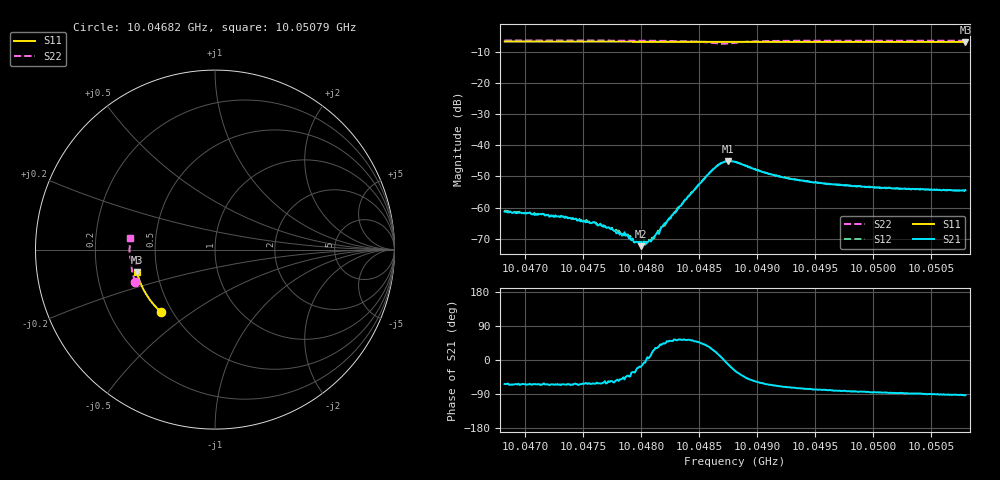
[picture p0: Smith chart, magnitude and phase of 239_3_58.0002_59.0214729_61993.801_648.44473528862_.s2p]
#  HZ  S  RI  R  50.00
! Rohde & Schwarz Vector Network Analyzer
! Rohde-Schwarz,ZNB20-2Port,1311601062101988,3.16
! Created: UTC 3/21/2024, 1:01:00 AM
! freq[Hz]  re:S11  im:S11  re:S21  im:S21  re:S12  im:S12  re:S22  im:S22
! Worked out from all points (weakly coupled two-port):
!   401 points, 10.04682 GHz to 10.05079 GHz, reference 50 ohm
!   highest |S21| = -45.08 dB at 10.04875 GHz (marker M1); lowest = -72.3 dB at 10.04799 GHz (marker M2)
!   lowest |S11| = -6.9 dB at 10.05079 GHz (marker M3), VSWR 2.66, Z = 19.1 - j6.04 ohm
!   |S11| at or under -10 dB: nowhere
!   |S22| runs from -7.4 to -6.4 dB; largest |S21 - S12| = 0.00039
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1.0046821e10  -0.3031 -0.347  0.000387 -0.000774  0.00045 -0.000795  -0.4436 -0.1822
1.0047138e10  -0.3181 -0.3323  0.000338 -0.000715  0.000361 -0.000684  -0.4507 -0.1616
1.0047486e10  -0.3339 -0.3154  0.000275 -0.00055  0.000313 -0.000555  -0.4576 -0.1383
1.0047595e10  -0.3387 -0.31  0.000268 -0.000519  0.000302 -0.000496  -0.4593 -0.1308
1.0047734e10  -0.3446 -0.303  0.000259 -0.00038  0.000263 -0.000365  -0.4617 -0.121
1.0047804e10  -0.3474 -0.2994  0.000225 -0.000323  0.000281 -0.000326  -0.4624 -0.1158
1.0047863e10  -0.3499 -0.2962  0.000252 -0.000249  0.00026 -0.000266  -0.4633 -0.1113
1.0047903e10  -0.3515 -0.2942  0.000238 -0.000225  0.000277 -0.000216  -0.4635 -0.1084
1.0047933e10  -0.3529 -0.2926  0.000252 -0.000157  0.000247 -0.000132  -0.4638 -0.106
1.0047992e10  -0.3553 -0.2896  0.00023 -7.49e-05  0.00028 -5.38e-05  -0.4646 -0.1012
1.0048022e10  -0.3563 -0.2879  0.000304 -3.61e-05  0.000262 -4.03e-05  -0.4647 -0.099
1.0048072e10  -0.3583 -0.2854  0.000298 4.4e-05  0.000292 9.31e-05  -0.465 -0.095
1.0048111e10  -0.3598 -0.2832  0.000307 0.00016  0.000277 0.00017  -0.4651 -0.0916
1.0048151e10  -0.3615 -0.2814  0.000308 0.000221  0.000337 0.000251  -0.4654 -0.0881
1.0048588e10  -0.3776 -0.2573  0.00302 0.002  0.00293 0.00218  -0.4406 -0.047
1.0048677e10  -0.3805 -0.2524  0.00494 0.000926  0.00494 0.0012  -0.4241 -0.0544
1.0048747e10  -0.3828 -0.2487  0.00547 -0.00108  0.00554 -0.000794  -0.4226 -0.0703
1.0048806e10  -0.385 -0.2454  0.00477 -0.00257  0.00495 -0.00228  -0.4318 -0.0795
1.0049114e10  -0.3952 -0.228  0.00143 -0.00311  0.00159 -0.00306  -0.4668 -0.0601
1.0049472e10  -0.4061 -0.207  0.000544 -0.0025  0.000719 -0.00248  -0.4745 -0.0293
1.0050137e10  -0.4231 -0.1666  0.000114 -0.00208  0.000249 -0.00207  -0.4759 0.0189
1.0050792e10  -0.436 -0.1255  -9.82e-05 -0.00191  3.96e-05 -0.00187  -0.4718 0.0635
